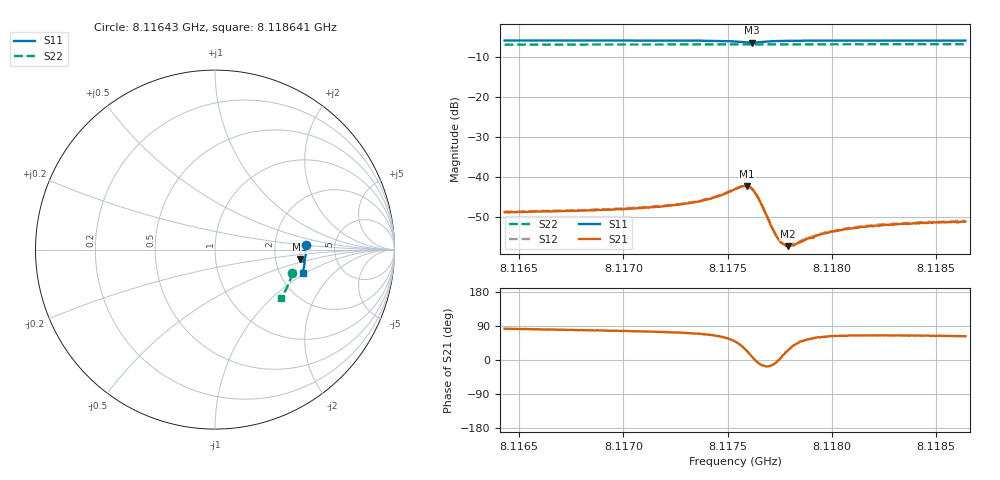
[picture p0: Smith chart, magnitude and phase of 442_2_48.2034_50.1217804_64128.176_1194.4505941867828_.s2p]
#  HZ  S  RI  R  50.00
! Rohde & Schwarz Vector Network Analyzer
! Rohde-Schwarz,ZNB20-2Port,1311601062101988,3.16
! Created: UTC 3/20/2024, 11:55:53 AM
! freq[Hz]  re:S11  im:S11  re:S21  im:S21  re:S12  im:S12  re:S22  im:S22
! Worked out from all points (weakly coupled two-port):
!   401 points, 8.11643 GHz to 8.118641 GHz, reference 50 ohm
!   highest |S21| = -42.34 dB at 8.117591 GHz (marker M1); lowest = -57.4 dB at 8.11779 GHz (marker M2)
!   lowest |S11| = -6.4 dB at 8.117619 GHz (marker M3), VSWR 2.83, Z = 138 - j19.2 ohm
!   |S11| at or under -10 dB: nowhere
!   |S22| runs from -6.9 to -6.8 dB; largest |S21 - S12| = 0.00022
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8.1164303e9  0.5065 0.0268  0.000466 0.00356  0.000501 0.00357  0.4307 -0.1302
8.1168007e9  0.5068 -0.0015  0.000712 0.00369  0.000765 0.00374  0.4234 -0.1551
8.1171711e9  0.5048 -0.0309  0.00114 0.00403  0.00119 0.00412  0.4148 -0.1794
8.1172706e9  0.5036 -0.0393  0.00136 0.00426  0.00142 0.00431  0.4123 -0.1859
8.1173701e9  0.5015 -0.0485  0.0018 0.00459  0.00186 0.00466  0.4094 -0.1924
8.1174585e9  0.4977 -0.0578  0.0026 0.00508  0.00272 0.00518  0.4069 -0.1982
8.1175359e9  0.4883 -0.0658  0.00455 0.00523  0.00469 0.00529  0.4042 -0.2029
8.1175691e9  0.4808 -0.0657  0.00605 0.00446  0.00613 0.00455  0.4031 -0.2048
8.1175912e9  0.4758 -0.062  0.00692 0.00322  0.00706 0.00321  0.4021 -0.2062
8.1176188e9  0.4741 -0.0537  0.00687 0.000938  0.00705 0.000903  0.4014 -0.2074
8.1176354e9  0.4768 -0.0491  0.0061 -0.000209  0.00616 -0.000257  0.4011 -0.2081
8.117652e9  0.481 -0.0466  0.00504 -0.000849  0.00517 -0.000912  0.4008 -0.209
8.1177128e9  0.4935 -0.0505  0.00224 -0.000568  0.0023 -0.000589  0.3997 -0.2133
8.1177404e9  0.4961 -0.0544  0.0017 -6.98e-05  0.00172 -0.000129  0.3991 -0.2151
8.1177681e9  0.4976 -0.058  0.0014 0.000334  0.0014 0.000296  0.3981 -0.2169
8.1177902e9  0.4983 -0.0607  0.00121 0.000596  0.00126 0.000579  0.3976 -0.2184
8.1178344e9  0.4991 -0.0657  0.00105 0.00101  0.00106 0.00103  0.3961 -0.2211
8.1179063e9  0.499 -0.0729  0.000943 0.00144  0.000966 0.0015  0.3938 -0.2256
8.1179616e9  0.4987 -0.0781  0.000951 0.00169  0.000941 0.00173  0.3919 -0.2291
8.1180611e9  0.4976 -0.0865  0.00096 0.00196  0.000979 0.00199  0.3887 -0.2354
8.1182767e9  0.4945 -0.1036  0.00105 0.00224  0.00108 0.0023  0.3812 -0.2485
8.1186415e9  0.4879 -0.1309  0.00125 0.00243  0.00129 0.00249  0.3674 -0.2701
